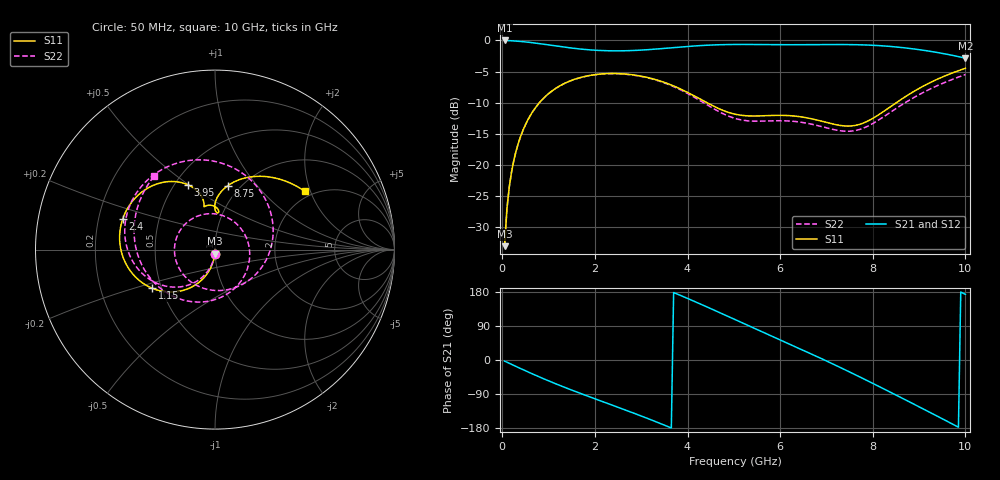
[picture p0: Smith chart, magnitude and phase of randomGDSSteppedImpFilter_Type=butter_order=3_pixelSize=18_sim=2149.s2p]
! freq	dB(S11)	phase(S11)	dB(S12)	phase(S12)
!  dB(S21)	phase(S21)	dB(S22)	phase(S22)
!S-par simulation data
#  GHz  S  DB  R 50
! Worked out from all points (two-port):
!   200 points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, 50 MHz to 10 GHz, reference 50 ohm
!   highest |S21| = 0.00 dB at 50 MHz (marker M1); lowest = -2.9 dB at 10 GHz (marker M2)
!   |S21| within 3 dB of the highest: start of sweep to end of sweep
!   lowest |S11| = -33.1 dB at 50 MHz (marker M3), VSWR 1.05, Z = 49.8 - j2.21 ohm
!   |S11| at or under -10 dB: start of sweep to 803.8 MHz; 4.415 GHz to 8.51 GHz (4.096 GHz wide, 63.4 % of centre)
!   |S22| runs from -33.1 to -5.3 dB; largest |S21 - S12| = 0
!   S11 on the Smith chart (normalised r, x): 50 MHz: 1.00, -0.04; 1.15 GHz: 0.44, -0.23; 2.4 GHz: 0.30, +0.15; 3.95 GHz: 0.58, +0.50; 8.75 GHz: 0.88, +0.72; 10 GHz: 1.82, +1.83
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0.05  -33.09 -92.7  -0.00 -2.9  -0.00 -2.9  -33.09 -93.1
0.15  -23.60 -98.4  -0.03 -8.7  -0.03 -8.7  -23.61 -99.6
0.35  -16.45 -109.2  -0.13 -20.1  -0.13 -20.1  -16.45 -112.0
0.7  -10.99 -127.1  -0.41 -39.3  -0.41 -39.3  -10.99 -132.7
1.15  -7.72 -148.4  -0.88 -62.6  -0.88 -62.6  -7.73 -157.9
1.75  -5.85 -173.7  -1.43 -91.0  -1.43 -91.0  -5.86 170.5
2.4  -5.32 161.7  -1.68 -120.3  -1.68 -120.3  -5.34 136.8
2.9  -5.62 144.0  -1.60 -143.1  -1.60 -143.1  -5.66 109.3
3.4  -6.50 127.6  -1.34 -166.9  -1.34 -166.9  -6.57 78.6
3.95  -8.17 112.5  -1.00 165.2  -1.00 165.2  -8.33 38.7
4.45  -10.14 104.5  -0.76 138.4  -0.76 138.4  -10.48 -6.0
5.05  -11.90 103.9  -0.65 105.4  -0.65 105.4  -12.60 -71.5
5.8  -12.07 101.5  -0.68 64.2  -0.68 64.2  -12.94 -153.5
6.3  -12.15 94.0  -0.69 36.7  -0.69 36.7  -13.02 158.2
6.7  -12.64 87.7  -0.68 14.5  -0.68 14.5  -13.51 119.4
7.1  -13.38 84.4  -0.66 -8.2  -0.66 -8.2  -14.25 76.6
7.45  -13.77 85.8  -0.67 -28.6  -0.67 -28.6  -14.61 33.9
7.95  -12.75 90.3  -0.76 -58.6  -0.76 -58.6  -13.57 -30.6
8.35  -10.83 87.9  -0.95 -83.1  -0.95 -83.1  -11.71 -77.0
8.75  -8.82 78.8  -1.24 -107.9  -1.24 -107.9  -9.79 -117.7
9.45  -6.05 54.7  -2.02 -151.8  -2.02 -151.8  -7.09 178.2
10  -4.49 32.9  -2.86 173.0  -2.86 173.0  -5.49 129.7
